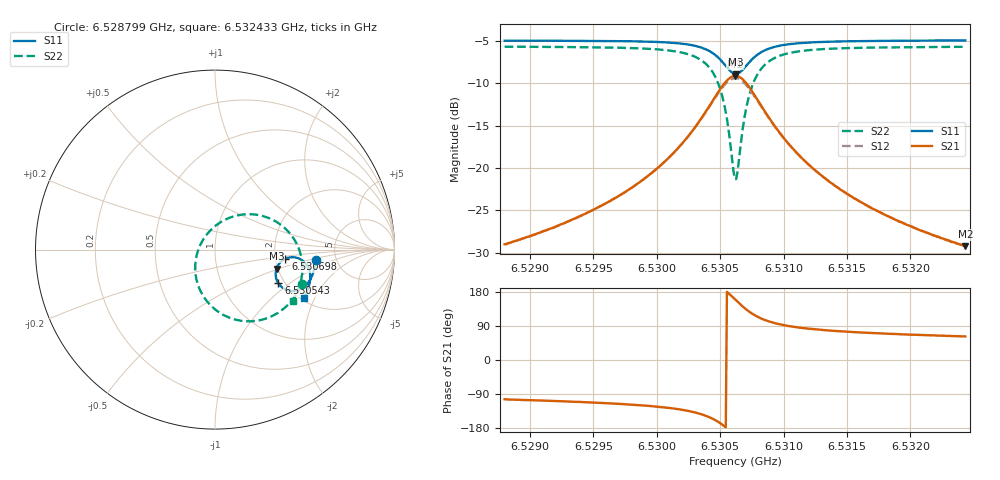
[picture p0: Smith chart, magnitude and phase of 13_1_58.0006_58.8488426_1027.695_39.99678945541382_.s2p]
#  HZ  S  RI  R  50.00
! Rohde & Schwarz Vector Network Analyzer
! Rohde-Schwarz,ZNB20-2Port,1311601062101988,3.16
! Created: UTC 3/21/2024, 12:50:51 AM
! freq[Hz]  re:S11  im:S11  re:S21  im:S21  re:S12  im:S12  re:S22  im:S22
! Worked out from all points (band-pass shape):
!   401 points, 6.528799 GHz to 6.532433 GHz, reference 50 ohm
!   highest |S21| = -9.13 dB at 6.530616 GHz (marker M1); lowest = -29.2 dB at 6.532433 GHz (marker M2)
!   |S21| within 3 dB of the highest: 6.530438 GHz to 6.530801 GHz (363 kHz wide, 0.00556 % of centre)
!   lowest |S11| = -8.9 dB at 6.530625 GHz (marker M3), VSWR 2.12, Z = 98.4 - j23.8 ohm
!   |S11| at or under -10 dB: nowhere
!   |S22| runs from -21.3 to -5.7 dB; largest |S21 - S12| = 0.015
!   S11 on the Smith chart (normalised r, x): 6.528799 GHz: 3.48, -0.59; 6.530543 GHz: 1.85, -0.83; 6.530698 GHz: 2.27, -0.27; 6.532433 GHz: 2.10, -1.65
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6.5287994e9  0.561 -0.0581  -0.00823 -0.0345  -0.00922 -0.0342  0.4827 -0.1915
6.529408e9  0.5517 -0.1112  -0.0189 -0.0489  -0.02 -0.0485  0.4499 -0.2532
6.529735e9  0.5415 -0.1438  -0.0315 -0.0634  -0.0332 -0.0627  0.4169 -0.2965
6.5300166e9  0.5241 -0.1776  -0.056 -0.0844  -0.0585 -0.0829  0.3616 -0.3452
6.5302346e9  0.4941 -0.2099  -0.1031 -0.1086  -0.1064 -0.1047  0.2666 -0.3894
6.530389e9  0.4445 -0.2298  -0.183 -0.1162  -0.1856 -0.108  0.1202 -0.3916
6.5304799e9  0.3927 -0.2216  -0.2644 -0.0837  -0.2627 -0.0719  -0.0145 -0.3201
6.5305162e9  0.3689 -0.206  -0.3 -0.0497  -0.2948 -0.0374  -0.0673 -0.2556
6.5305434e9  0.3532 -0.1874  -0.3222 -0.0131  -0.3142 -0.00144  -0.0968 -0.1898
6.530598e9  0.3378 -0.1347  -0.3367 0.0838  -0.3237 0.0903  -0.1012 -0.0273
6.5306161e9  0.3403 -0.115  -0.3288 0.1183  -0.3151 0.1222  -0.0812 0.0275
6.5306252e9  0.3431 -0.1055  -0.3221 0.1348  -0.3085 0.1376  -0.0674 0.0533
6.5306434e9  0.3514 -0.0875  -0.3043 0.1652  -0.2913 0.1658  -0.0325 0.0999
6.5306979e9  0.3921 -0.0511  -0.2279 0.2258  -0.2189 0.2217  0.104 0.1853
6.5307251e9  0.4151 -0.0438  -0.187 0.2372  -0.1803 0.2325  0.1741 0.1971
6.5307615e9  0.4432 -0.0431  -0.1384 0.238  -0.1339 0.2336  0.2557 0.1896
6.5308523e9  0.4909 -0.0631  -0.0573 0.2071  -0.0557 0.2046  0.3887 0.1202
6.5309886e9  0.5204 -0.101  -0.0075 0.1539  -0.00629 0.1531  0.4642 0.0124
6.5312247e9  0.5308 -0.1483  0.0147 0.099  0.0158 0.0987  0.487 -0.1013
6.5315063e9  0.5273 -0.1858  0.0187 0.0672  0.0196 0.067  0.4793 -0.1739
6.5318333e9  0.5185 -0.2188  0.0183 0.048  0.0191 0.0478  0.463 -0.2255
6.5324329e9  0.4981 -0.2677  0.0161 0.0305  0.0167 0.0302  0.432 -0.2868
